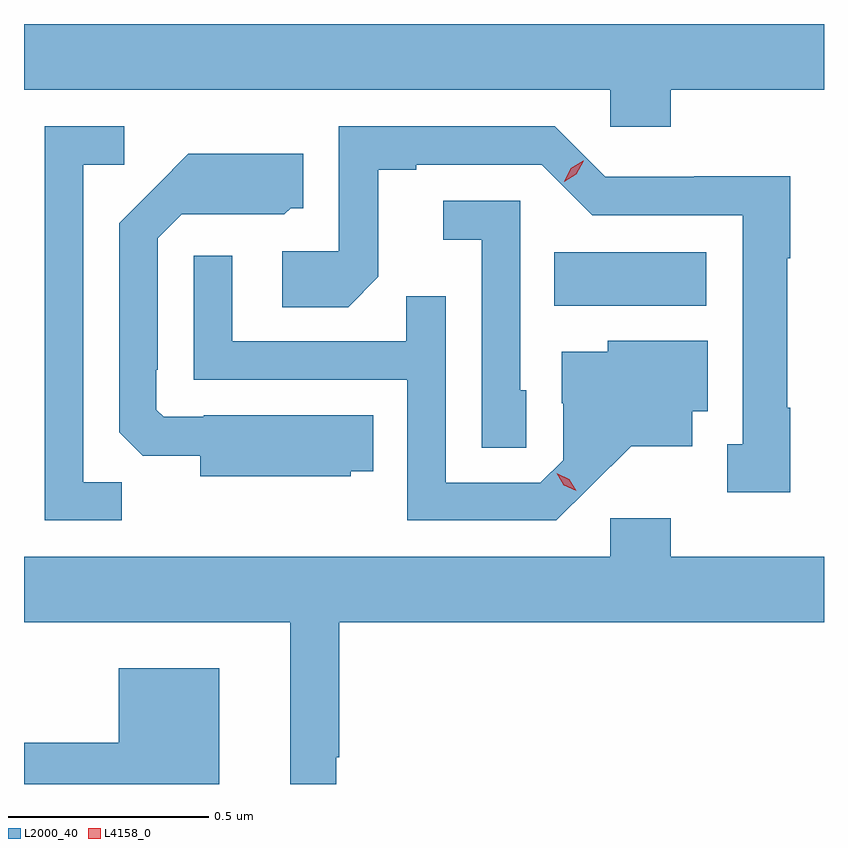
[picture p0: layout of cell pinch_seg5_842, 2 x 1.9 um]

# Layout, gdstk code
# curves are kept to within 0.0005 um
import gdstk
lib = gdstk.Library(unit=1e-6, precision=1e-09)
def R(c, l, rs):  # rectangles x0, y0, x1, y1
    for r in rs: c.add(gdstk.rectangle(r[:2], r[2:], *l))
def P(c, l, *ps):  # polygons
    for p in ps: c.add(gdstk.Polygon(p, *l))
L2000_40 = (2000, 40)
L4158_0 = (4158, 0)

pinch_seg5_842 = lib.new_cell('pinch_seg5_842')
R(pinch_seg5_842, L2000_40, [(770.734,890.852,771.115,890.986)])
P(pinch_seg5_842, L2000_40, [(771.026,891.392),(771.409,891.392),(771.409,891.556),(769.409,891.556),(769.409,891.392),(770.874,891.392),(770.874,891.299),(771.026,891.299)],
  [(771.325,890.597),(771.317,890.597),(771.317,890.971),(771.325,890.971),(771.325,891.176),(771.084,891.176),(771.084,891.174),(770.862,891.174),(770.736,891.3),(770.196,891.3),(770.196,890.988),(770.055,890.988),(770.055,890.848),(770.219,890.848),(770.295,890.924),(770.295,891.192),(770.389,891.192),(770.389,891.204),(770.703,891.204),(770.829,891.078),(771.206,891.078),(771.206,890.505),(771.167,890.505),(771.167,890.385),(771.325,890.385)],
  [(769.653,890.411),(769.557,890.411),(769.557,891.204),(769.66,891.204),(769.66,891.3),(769.461,891.3),(769.461,890.316),(769.653,890.316)],
  [(770.226,890.438),(770.282,890.438),(770.282,890.578),(769.858,890.578),(769.858,890.574),(769.758,890.574),(769.74,890.592),(769.74,890.692),(769.743,890.692),(769.743,891.021),(769.803,891.081),(769.926,891.081),(769.926,891.08),(770.06,891.08),(770.076,891.096),(770.107,891.096),(770.107,891.232),(769.819,891.232),(769.647,891.058),(769.647,890.536),(769.706,890.477),(769.85,890.477),(769.85,890.426),(770.226,890.426)],
  [(770.664,890.64),(770.649,890.64),(770.649,891.114),(770.457,891.114),(770.457,891.017),(770.553,891.017),(770.553,890.497),(770.664,890.497)],
  [(770.824,890.399),(770.927,890.501),(771.079,890.501),(771.079,890.588),(771.118,890.588),(771.118,890.764),(770.868,890.764),(770.868,890.737),(770.753,890.737),(770.753,890.608),(770.757,890.608),(770.757,890.466),(770.7,890.409),(770.463,890.409),(770.463,890.876),(770.365,890.876),(770.365,890.763),(769.929,890.763),(769.929,890.977),(769.833,890.977),(769.833,890.667),(770.367,890.667),(770.367,890.316),(770.74,890.316)],
  [(770.19,889.723),(770.197,889.723),(770.197,890.06),(771.409,890.06),(771.409,890.224),(771.026,890.224),(771.026,890.32),(770.874,890.32),(770.874,890.224),(769.409,890.224),(769.409,890.06),(770.075,890.06),(770.075,889.656),(770.19,889.656)],
  [(769.897,889.945),(769.646,889.945),(769.646,889.759),(769.409,889.759),(769.409,889.656),(769.897,889.656)])
P(pinch_seg5_842, L4158_0, [(770.759,891.162),(770.759,891.162),(770.776,891.195),(770.807,891.214),(770.808,891.214),(770.808,891.214),(770.79,891.181),(770.759,891.162)],
  [(770.789,890.389),(770.758,890.403),(770.741,890.433),(770.741,890.433),(770.741,890.433),(770.772,890.418),(770.789,890.389),(770.789,890.389)])

lib.write_gds('pinch_seg5_842.gds')
